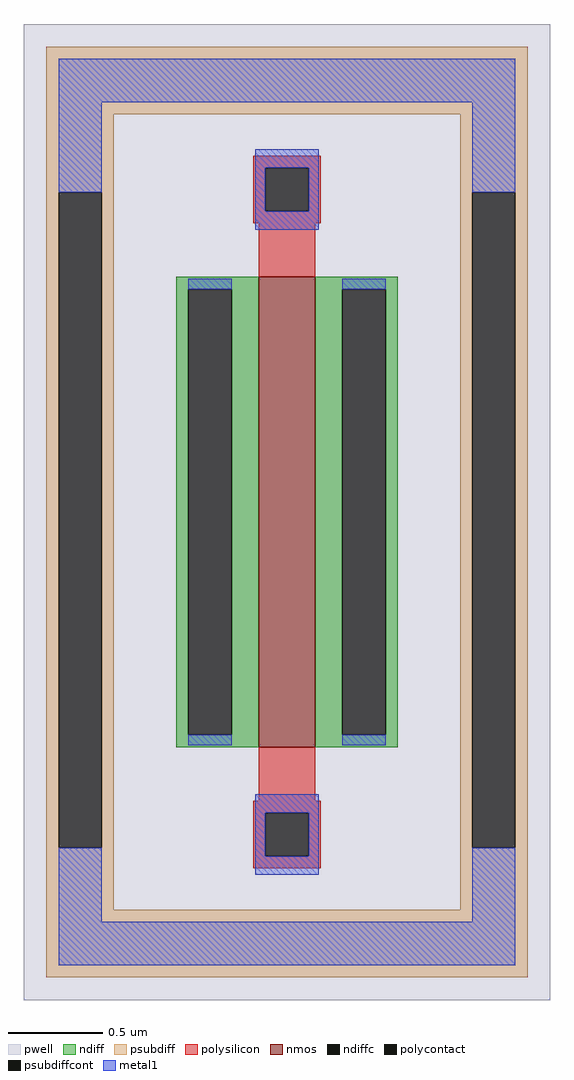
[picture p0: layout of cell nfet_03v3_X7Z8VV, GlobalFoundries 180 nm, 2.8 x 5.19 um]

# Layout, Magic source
magic
tech gf180mcuD
magscale 1 10
<< pwell >>
rect -280 -519 280 519
<< nmos >>
rect -30 -250 30 250
<< ndiff >>
rect -118 237 -30 250
rect -118 -237 -105 237
rect -59 -237 -30 237
rect -118 -250 -30 -237
rect 30 237 118 250
rect 30 -237 59 237
rect 105 -237 118 237
rect 30 -250 118 -237
<< ndiffc >>
rect -105 -237 -59 237
rect 59 -237 105 237
<< psubdiff >>
rect -256 423 256 495
rect -256 340 -184 423
rect -256 -357 -243 340
rect -197 -357 -184 340
rect 184 340 256 423
rect -256 -423 -184 -357
rect 184 -357 197 340
rect 243 -357 256 340
rect 184 -423 256 -357
rect -256 -495 256 -423
<< psubdiffcont >>
rect -243 -357 -197 340
rect 197 -357 243 340
<< polysilicon >>
rect -36 366 36 379
rect -36 320 -23 366
rect 23 320 36 366
rect -36 307 36 320
rect -30 250 30 307
rect -30 -307 30 -250
rect -36 -320 36 -307
rect -36 -366 -23 -320
rect 23 -366 36 -320
rect -36 -379 36 -366
<< polycontact >>
rect -23 320 23 366
rect -23 -366 23 -320
<< metal1 >>
rect -243 436 243 482
rect -243 340 -197 436
rect -34 366 34 386
rect -34 320 -23 366
rect 23 320 34 366
rect -34 300 34 320
rect 197 340 243 436
rect -105 237 -59 248
rect -105 -248 -59 -237
rect 59 237 105 248
rect 59 -248 105 -237
rect -243 -436 -197 -357
rect -34 -320 34 -300
rect -34 -366 -23 -320
rect 23 -366 34 -320
rect -34 -386 34 -366
rect 197 -436 243 -357
rect -243 -482 243 -436
<< properties >>
string FIXED_BBOX -220 -400 220 400
string gencell nfet_03v3
string library gf180mcu
string parameters w 2.5 l 0.3 m 1 nf 1 diffcov 100 polycov 100 guard 1 glc 1 grc 1 gtc 0 gbc 0 tbcov 100 rlcov 100 topc 1 botc 1 poverlap 0 doverlap 1 lmin 0.28 wmin 0.22 class mosfet full_metal 1 compatible {nfet_03v3 nfet_05v0 nfet_06v0 nfet_06v0_nvt}
<< end >>
